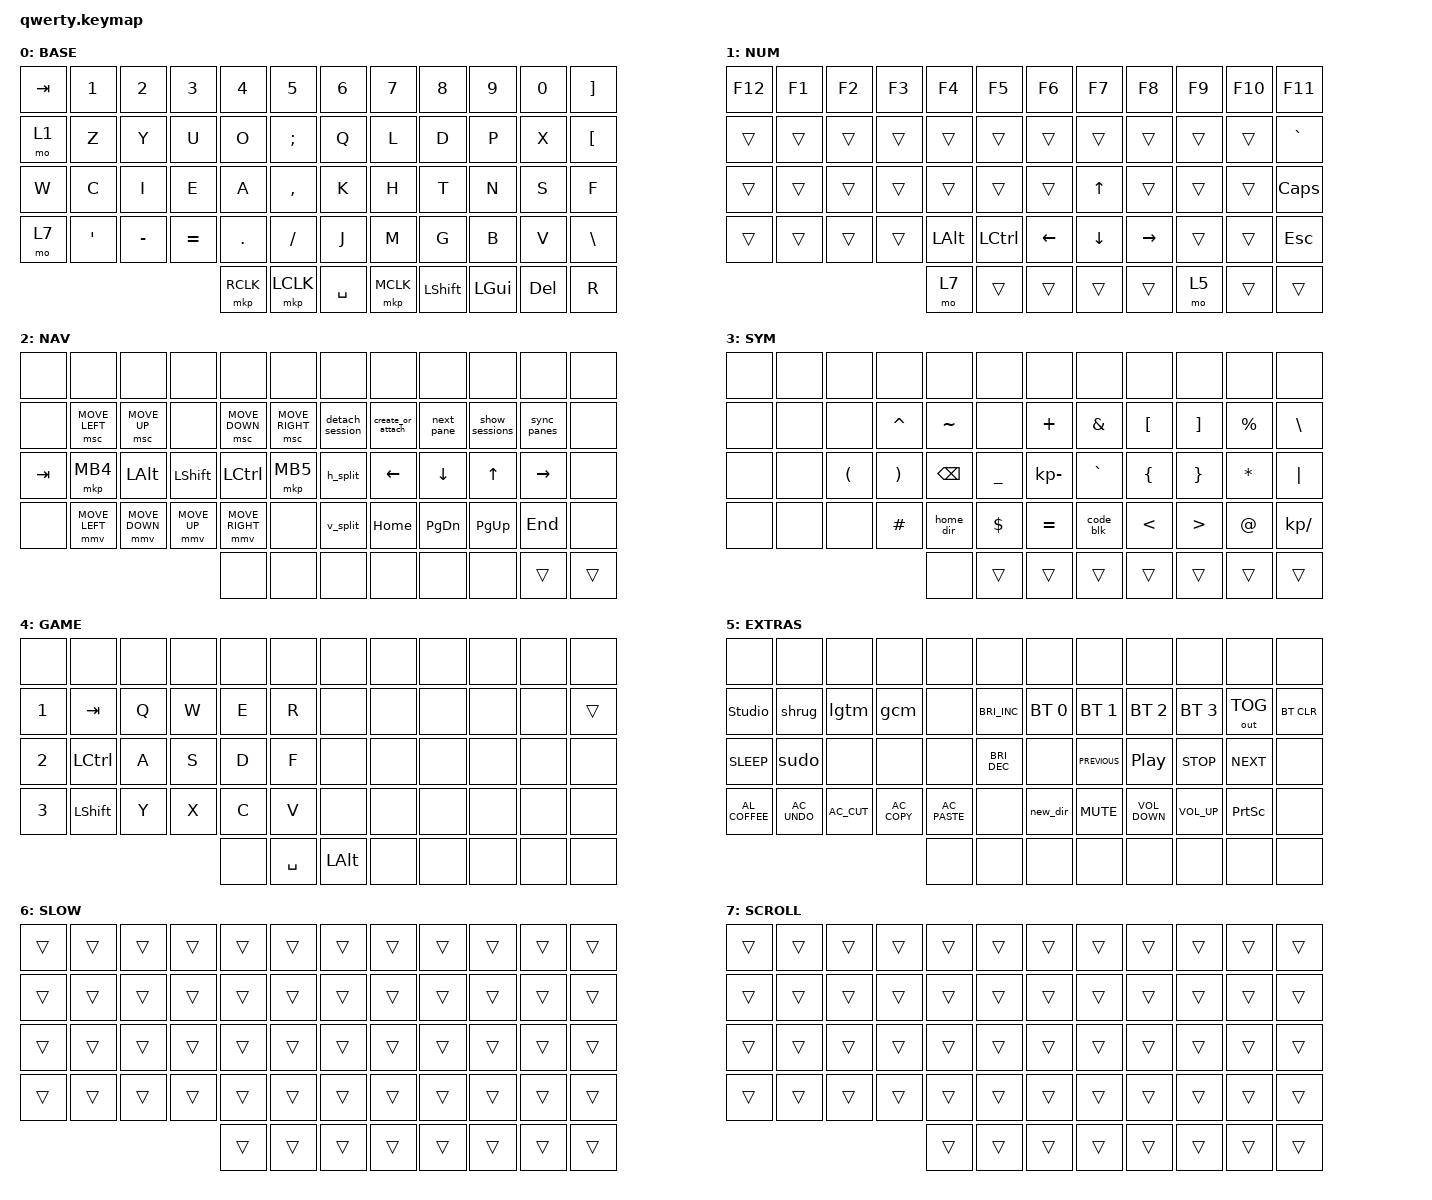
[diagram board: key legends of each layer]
/* upstream bindings and behaviors */
#include <behaviors.dtsi>
#include <dt-bindings/zmk/bt.h>
#include <dt-bindings/zmk/keys.h>
#include <dt-bindings/zmk/mouse.h>
#include <dt-bindings/zmk/outputs.h>
#include <behaviors/mouse_keys.dtsi>
#include <dt-bindings/zmk/ext_power.h>

/* local overlays */
#include "macros.dtsi"
#include "behaviors.dtsi"
#include "combos.dtsi"

/ {
/* --- KEYMAP CONFIG --- */
// ╭──────┬──────┬──────┬──────┬──────┬──────╮  ╭──────┬──────┬──────┬──────┬──────┬──────╮
//    00     01     02     03     04     05        06     07     08     09     10     11
// ├──────┼──────┼──────┼──────┼──────┼──────┤  ├──────┼──────┼──────┼──────┼──────┼──────┤
//    12     13     14     15     16     17        18     19     20     21     22     23
// ├──────┼──────┼──────┼──────┼──────┼──────┤  ├──────┼──────┼──────┼──────┼──────┼──────┤
//    24     25     26     27     28     29        30     31     32     33     34     35
// ├──────┼──────┼──────┼──────┼──────┼──────┤  ├──────┼──────┼──────┼──────┼──────┼──────┤
//    36     37     38     39     40     41        42     43     44     45     46     47
// ╰──────┴──────┴──────┴──────┴──────┴──────╯  ╰──────┴──────┴──────┴──────┴──────┴──────╯
//           48     49     50     51     52        53     54     55
//         ╰─────────────────────────────────╯  ╰──────────────────╯
// #define BASE    0
// #define NUM     1
// #define NAV     2
// #define SYM     3
// #define GAME    4
// #define EXTRAS  56
// #define SLOW    6
// #define SCROLL  7

    keymap {
        compatible = "zmk,keymap";
        BASE {
            bindings = <
// ╭───────────────┬────────────────┬────────────────┬─────────────────┬─────────────────┬──────────╮  ╭──────────┬──────────────────┬──────────────────┬──────────────────┬──────────────────────┬──────────────╮
       &kp TAB         &kp N1           &kp N2           &kp N3            &kp N4            &kp N5        &kp N6        &kp N7             &kp N8             &kp N9               &kp N0             &kp RBKT
// ├───────────────┼────────────────┼────────────────┼─────────────────┼─────────────────┼──────────┤  ├──────────┼──────────────────┼──────────────────┼──────────────────┼──────────────────────┼──────────────┤
         &mo 1            &kp Z            &kp Y             &kp U             &kp O        &kp SEMI       &kp Q          &kp L              &kp D              &kp P                &kp X              &kp LBKT
// ├───────────────┼────────────────┼────────────────┼─────────────────┼─────────────────┼──────────┤  ├──────────┼──────────────────┼──────────────────┼──────────────────┼──────────────────────┼──────────────┤
         &kp W            &kp C         &kp I               &kp E              &kp A        &kp COMMA      &kp K          &kp H              &kp T              &kp N                &kp S               &kp F
// ├───────────────┼────────────────┼────────────────┼─────────────────┼─────────────────┼──────────┤  ├──────────┼──────────────────┼──────────────────┼──────────────────┼──────────────────────┼──────────────┤
         &mo 7           &kp SQT        &kp MINUS         &kp EQUAL          &kp DOT       &kp FSLH        &kp J          &kp M            &kp G               &kp B                &kp V              &kp BSLH
// ╰───────────────┴────────────────┴────────────────┴─────────────────┴─────────────────┴──────────┤  ├──────────┴──────────────────┴──────────────────┴──────────────────┴──────────────────────┴──────────────╯
                            &mkp RCLK        &mkp LCLK       &kp SPACE     &mkp MCLK     &kp LSHFT       &kp LGUI       &kp DEL        &kp R
                    // ╰──────────────────┴──────────────┴──────────────┴──────────────┴────────────╯  ╰──────────┴───────────────┴────────────╯
            >;
        };

        NUM {
            bindings = <
// ╭───────────────┬────────────────┬────────────────┬─────────────────┬─────────────────┬──────────╮  ╭──────────┬──────────────────┬──────────────────┬──────────────────┬──────────────────────┬──────────────╮
        &kp F12          &kp F1           &kp F2            &kp F3            &kp F4         &kp F5        &kp F6        &kp F7            &kp F8             &kp F9             &kp F10             &kp F11
// ├───────────────┼────────────────┼────────────────┼─────────────────┼─────────────────┼──────────┤  ├──────────┼──────────────────┼──────────────────┼──────────────────┼──────────────────────┼──────────────┤
        &trans           &trans           &trans            &trans            &trans        &trans        &trans        &trans             &trans             &trans                &trans            &kp GRAVE
// ├───────────────┼────────────────┼────────────────┼─────────────────┼─────────────────┼──────────┤  ├──────────┼──────────────────┼──────────────────┼──────────────────┼──────────────────────┼──────────────┤
        &trans          &trans           &trans            &trans            &trans        &trans        &trans      &kp UP_ARROW          &trans             &trans                &trans          &kp CAPSLOCK
// ├───────────────┼────────────────┼────────────────┼─────────────────┼─────────────────┼──────────┤  ├──────────┼──────────────────┼──────────────────┼──────────────────┼──────────────────────┼──────────────┤
        &trans          &trans           &trans            &trans           &kp LALT      &kp LCTRL   &kp LEFT_ARROW  &kp DOWN_ARROW     &kp RIGHT_ARROW        &trans                &trans             &kp ESC
// ╰───────────────┴────────────────┴────────────────┴─────────────────┴─────────────────┴──────────┤  ├──────────┴──────────────────┴──────────────────┴──────────────────┴──────────────────────┴──────────────╯
                              &mo 7           &trans          &trans         &trans         &trans          &mo 5        &trans          &trans
                    // ╰──────────────────┴──────────────┴──────────────┴──────────────┴────────────╯  ╰──────────┴────────────────┴────────────╯
            >;
        };
        NAV {
            bindings = <
&none    &none          &none          &none        &none          &none               &none            &none             &none        &none           &none             &none
&none    &msc MOVE_LEFT &msc MOVE_UP   &none        &msc MOVE_DOWN &msc MOVE_RIGHT     &detach_session &create_or_attach &next_pane  &show_sessions &sync_panes       &none
&kp TAB  &mkp MB4       &kp LALT       &kp LSHFT    &kp LCTRL      &mkp MB5            &h_split        &kp LEFT_ARROW    &kp DOWN    &kp UP         &kp RIGHT_ARROW  &none
&none    &mmv MOVE_LEFT &mmv MOVE_DOWN &mmv MOVE_UP &mmv MOVE_RIGHT &none              &v_split        &kp HOME          &kp PG_DN   &kp PG_UP      &kp END          &none
                                                      &none          &none          &none              &none         &none        &none   &trans   &trans
            >;
        };

        SYM {
            bindings = <
&none      &none     &none     &none     &none           &none         &none       &none     &none     &none     &none     &none
&none      &none     &none     &kp CARET &kp TILDE       &none         &kp PLUS    &kp AMPS  &kp LBKT  &kp RBKT  &kp PRCNT  &kp BSLH
&none      &none     &kp LPAR  &kp RPAR  &kp BACKSPACE   &kp UNDER     &kp KP_MINUS &kp GRAVE &kp LBRC  &kp RBRC  &kp ASTRK  &kp PIPE
&none      &none     &none     &kp HASH  &home_dir       &kp DLLR      &kp EQUAL   &code_blk &kp LT    &kp GT    &kp AT     &kp KP_SLASH
                                       &none           &trans         &trans         &trans  &trans    &trans  &trans  &trans
            >;
        };

        GAME {
            bindings = <
&none   &none      &none  &none   &none      &none           &none  &none  &none  &none  &none  &none
&kp N1  &kp TAB    &kp Q  &kp W   &kp E      &kp R           &none  &none  &none  &none  &none  &trans
&kp N2  &kp LCTRL  &kp A  &kp S   &kp D      &kp F           &none  &none  &none  &none  &none  &none
&kp N3  &kp LSHFT  &kp Y  &kp X   &kp C      &kp V           &none  &none  &none  &none  &none  &none
                          &none   &kp SPACE  &kp LEFT_ALT    &none  &none        &none  &none  &none
            >;
        };

        EXTRAS {
            bindings = <
&none             &none           &none           &none           &none           &none                   &none         &none           &none              &none          &none               &none
&studio_unlock    &shrug          &lgtm           &gcm            &none           &kp C_BRIGHTNESS_INC    &bt BT_SEL 0  &bt BT_SEL 1    &bt BT_SEL 2       &bt BT_SEL 3  &out OUT_TOG         &bt BT_CLR
&kp C_SLEEP       &sudo           &none           &none           &none           &kp C_BRIGHTNESS_DEC    &none         &kp C_PREVIOUS  &kp C_PLAY_PAUSE   &kp C_STOP    &kp C_NEXT           &none
&kp C_AL_COFFEE   &kp C_AC_UNDO   &kp C_AC_CUT    &kp C_AC_COPY   &kp C_AC_PASTE  &none                   &new_dir      &kp K_MUTE      &kp C_VOLUME_DOWN  &kp C_VOLUME_UP   &kp PRINTSCREEN  &none
                                                                                   &none  &none  &none    &none         &none        &none  &none  &none
            >;
        };

        SLOW {
            bindings = <
&trans    &trans    &trans    &trans    &trans    &trans    &trans    &trans    &trans    &trans    &trans    &trans
&trans    &trans    &trans    &trans    &trans    &trans    &trans    &trans    &trans    &trans    &trans    &trans
&trans    &trans    &trans    &trans    &trans    &trans    &trans    &trans    &trans    &trans    &trans    &trans
&trans    &trans    &trans    &trans    &trans    &trans    &trans    &trans    &trans    &trans    &trans    &trans
                              &trans    &trans    &trans    &trans    &trans    &trans    &trans    &trans
            >;
        };

        SCROLL {
            bindings = <
&trans    &trans    &trans    &trans    &trans    &trans    &trans    &trans    &trans    &trans    &trans    &trans
&trans    &trans    &trans    &trans    &trans    &trans    &trans    &trans    &trans    &trans    &trans    &trans
&trans    &trans    &trans    &trans    &trans    &trans    &trans    &trans    &trans    &trans    &trans    &trans
&trans    &trans    &trans    &trans    &trans    &trans    &trans    &trans    &trans    &trans    &trans    &trans
                              &trans    &trans    &trans    &trans    &trans    &trans    &trans    &trans
            >;
        };
    };
};
